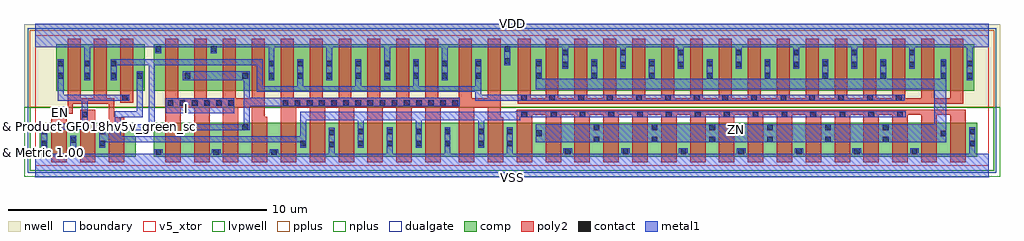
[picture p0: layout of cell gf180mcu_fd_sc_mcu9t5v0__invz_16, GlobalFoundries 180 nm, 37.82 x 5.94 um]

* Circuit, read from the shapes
.subckt gf180mcu_fd_sc_mcu9t5v0__invz_16 EN I VDD VSS ZN
XM1 VSS EN n1 VSUBS nfet_05v0 w=1.32u l=0.6u
XM2 n2 n1 VSS VSUBS nfet_05v0 w=1.32u l=0.6u
XM3 n3 EN n2 VSUBS nfet_05v0 w=1.32u l=0.6u
XM4 n4 I VSS VSUBS nfet_05v0 w=1.32u l=0.6u m=4
XM5 n2 n4 VSS VSUBS nfet_05v0 w=1.32u l=0.6u m=8
XM6 ZN n2 VSS VSUBS nfet_05v0 w=1.32u l=0.6u m=16
XM7 VDD EN n1 n5 pfet_05v0 w=1.8u l=0.5u
XM8 n3 EN VDD n5 pfet_05v0 w=1.8u l=0.5u
XM9 n2 n1 n3 n5 pfet_05v0 w=1.8u l=0.5u
XM10 n4 I VDD n5 pfet_05v0 w=1.8u l=0.5u m=4
XM11 n3 n4 VDD n5 pfet_05v0 w=1.8u l=0.5u m=8
XM12 ZN n3 VDD n5 pfet_05v0 w=1.8u l=0.5u m=16
.ends

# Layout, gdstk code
import gdstk
lib = gdstk.Library(unit=1e-6, precision=1e-09)
def R(c, l, rs):  # rectangles x0, y0, x1, y1
    for r in rs: c.add(gdstk.rectangle(r[:2], r[2:], *l))
def A(c, l, x, y, w, h, nx, ny, dx, dy):  # array of equal rectangles
    R(c, l, [(x+i*dx, y+j*dy, x+i*dx+w, y+j*dy+h) for i in range(nx) for j in range(ny)])
def P(c, l, *ps):  # polygons
    for p in ps: c.add(gdstk.Polygon(p, *l))
boundary = (0, 0)
nwell = (21, 0)
comp = (22, 0)
poly2 = (30, 0)
pplus = (31, 0)
nplus = (32, 0)
contact = (33, 0)
metal1 = (34, 0)
dualgate = (55, 0)
v5_xtor = (112, 1)
lvpwell = (204, 0)

gf180mcu_fd_sc_mcu9t5v0_ = lib.new_cell('gf180mcu_fd_sc_mcu9t5v0__invz_16')
R(gf180mcu_fd_sc_mcu9t5v0_, boundary, [(0,0,36.96,5.04)])
R(gf180mcu_fd_sc_mcu9t5v0_, nwell, [(-0.43,2.265,37.39,5.47)])
R(gf180mcu_fd_sc_mcu9t5v0_, comp, [(0.18,0.34,3.9,1.66), (0.82,2.9,4.24,4.7), (4.6,2.9,36.4,4.7)])
P(gf180mcu_fd_sc_mcu9t5v0_, comp, [(16.02,0.34),(16.02,0.345),(4.6,0.345),(4.6,1.665),(16.12,1.665),(16.12,1.66),(36.5,1.66),(36.5,0.34)])
R(gf180mcu_fd_sc_mcu9t5v0_, poly2, [(1.74,0.12,2.34,2.16), (3.3,2.44,3.8,4.92)])
P(gf180mcu_fd_sc_mcu9t5v0_, poly2, [(0.62,0.12),(0.62,2.2),(1.26,2.2),(1.26,4.92),(1.76,4.92),(1.76,2.6),(2.28,2.6),(2.28,4.92),(2.78,4.92),(2.78,2.6),(3.06,2.6),(3.06,1.88),(3.46,1.88),(3.46,0.12),(2.86,0.12),(2.86,2.4),(1.46,2.4),(1.46,2),(1.22,2),(1.22,0.12)],
  [(5.04,0.125),(5.04,4.92),(5.54,4.92),(5.54,2.6),(6.16,2.6),(6.16,4.92),(6.66,4.92),(6.66,2.6),(7.28,2.6),(7.28,4.92),(7.78,4.92),(7.78,2.6),(8.4,2.6),(8.4,4.92),(8.9,4.92),(8.9,1.885),(9,1.885),(9,0.125),(8.4,0.125),(8.4,2.235),(7.875,2.235),(7.875,1.885),(7.88,1.885),(7.88,0.125),(7.28,0.125),(7.28,2.235),(6.76,2.235),(6.76,0.125),(6.16,0.125),(6.16,2.24),(5.64,2.24),(5.64,0.125)],
  [(16.42,0.12),(16.42,2.24),(15.72,2.24),(15.72,0.125),(15.12,0.125),(15.12,2.24),(14.6,2.24),(14.6,0.125),(14,0.125),(14,2.24),(13.48,2.24),(13.48,0.125),(12.88,0.125),(12.88,2.24),(12.36,2.24),(12.36,0.125),(11.76,0.125),(11.76,2.24),(11.24,2.24),(11.24,0.125),(10.64,0.125),(10.64,2.24),(10.12,2.24),(10.12,0.125),(9.52,0.125),(9.52,4.92),(10.02,4.92),(10.02,2.6),(10.64,2.6),(10.64,4.92),(11.14,4.92),(11.14,2.6),(11.76,2.6),(11.76,4.92),(12.26,4.92),(12.26,2.6),(12.88,2.6),(12.88,4.92),(13.38,4.92),(13.38,2.6),(14,2.6),(14,4.92),(14.5,4.92),(14.5,2.6),(15.12,2.6),(15.12,4.92),(15.62,4.92),(15.62,2.6),(16.42,2.6),(16.42,4.92),(16.92,4.92),(16.92,2.6),(17.54,2.6),(17.54,4.92),(18.04,4.92),(18.04,1.88),(18.14,1.88),(18.14,0.12),(17.54,0.12),(17.54,2.24),(17.02,2.24),(17.02,0.12)],
  [(18.71,2.4),(18.71,4.92),(19.21,4.92),(19.21,2.6),(19.78,2.6),(19.78,4.92),(20.28,4.92),(20.28,2.6),(20.9,2.6),(20.9,4.92),(21.4,4.92),(21.4,2.6),(22.02,2.6),(22.02,4.92),(22.52,4.92),(22.52,2.6),(23.14,2.6),(23.14,4.92),(23.64,4.92),(23.64,2.6),(24.26,2.6),(24.26,4.92),(24.76,4.92),(24.76,2.6),(25.38,2.6),(25.38,4.92),(25.88,4.92),(25.88,2.6),(26.5,2.6),(26.5,4.92),(27,4.92),(27,2.6),(27.62,2.6),(27.62,4.92),(28.12,4.92),(28.12,2.6),(28.74,2.6),(28.74,4.92),(29.24,4.92),(29.24,2.6),(29.86,2.6),(29.86,4.92),(30.36,4.92),(30.36,2.6),(30.98,2.6),(30.98,4.92),(31.48,4.92),(31.48,2.6),(32.1,2.6),(32.1,4.92),(32.6,4.92),(32.6,2.6),(33.22,2.6),(33.22,4.92),(33.72,4.92),(33.72,2.6),(34.34,2.6),(34.34,4.92),(34.84,4.92),(34.84,2.6),(35.46,2.6),(35.46,4.92),(35.96,4.92),(35.96,2.4)],
  [(18.66,0.12),(18.66,2.16),(36.06,2.16),(36.06,0.12),(35.46,0.12),(35.46,1.96),(34.94,1.96),(34.94,0.12),(34.34,0.12),(34.34,1.96),(33.82,1.96),(33.82,0.12),(33.22,0.12),(33.22,1.96),(32.7,1.96),(32.7,0.12),(32.1,0.12),(32.1,1.96),(31.58,1.96),(31.58,0.12),(30.98,0.12),(30.98,1.96),(30.46,1.96),(30.46,0.12),(29.86,0.12),(29.86,1.96),(29.34,1.96),(29.34,0.12),(28.74,0.12),(28.74,1.96),(28.22,1.96),(28.22,0.12),(27.62,0.12),(27.62,1.96),(27.1,1.96),(27.1,0.12),(26.5,0.12),(26.5,1.96),(25.98,1.96),(25.98,0.12),(25.38,0.12),(25.38,1.96),(24.86,1.96),(24.86,0.12),(24.26,0.12),(24.26,1.96),(23.74,1.96),(23.74,0.12),(23.14,0.12),(23.14,1.96),(22.62,1.96),(22.62,0.12),(22.02,0.12),(22.02,1.96),(21.5,1.96),(21.5,0.12),(20.9,0.12),(20.9,1.96),(20.38,1.96),(20.38,0.12),(19.78,0.12),(19.78,1.96),(19.26,1.96),(19.26,0.12)])
R(gf180mcu_fd_sc_mcu9t5v0_, pplus, [(-0.2,2.265,37.16,5.24)])
R(gf180mcu_fd_sc_mcu9t5v0_, nplus, [(-0.2,-0.2,37.16,2.265)])
A(gf180mcu_fd_sc_mcu9t5v0_, contact, 4.67, 0.415, 0.22, 0.22, 3, 1, 2.24, 0)
A(gf180mcu_fd_sc_mcu9t5v0_, contact, 20.53, 0.44, 0.22, 0.22, 7, 1, 2.24, 0)
A(gf180mcu_fd_sc_mcu9t5v0_, contact, 12.51, 0.74, 0.22, 0.22, 4, 2, 1.12, 0.47)
A(gf180mcu_fd_sc_mcu9t5v0_, contact, 21.65, 0.9, 0.22, 0.22, 6, 2, 2.24, 0.47)
A(gf180mcu_fd_sc_mcu9t5v0_, contact, 19.985, 1.87, 0.22, 0.22, 5, 1, 1.115, 0)
A(gf180mcu_fd_sc_mcu9t5v0_, contact, 26.69, 1.87, 0.22, 0.22, 3, 1, 1.12, 0)
A(gf180mcu_fd_sc_mcu9t5v0_, contact, 31.175, 1.87, 0.22, 0.22, 3, 1, 1.115, 0)
A(gf180mcu_fd_sc_mcu9t5v0_, contact, 5.135, 2.31, 0.22, 0.22, 6, 1, 0.47, 0)
A(gf180mcu_fd_sc_mcu9t5v0_, contact, 9.59, 2.31, 0.22, 0.22, 15, 1, 0.47, 0)
A(gf180mcu_fd_sc_mcu9t5v0_, contact, 22.16, 2.51, 0.22, 0.22, 3, 1, 1.125, 0)
A(gf180mcu_fd_sc_mcu9t5v0_, contact, 30, 2.51, 0.22, 0.22, 3, 1, 1.12, 0)
A(gf180mcu_fd_sc_mcu9t5v0_, contact, 0.89, 3.37, 0.22, 0.22, 4, 1, 1.02, 0)
A(gf180mcu_fd_sc_mcu9t5v0_, contact, 9.05, 3.37, 0.22, 0.22, 7, 2, 1.12, 0.47)
A(gf180mcu_fd_sc_mcu9t5v0_, contact, 21.55, 3.37, 0.22, 0.22, 6, 2, 2.24, 0.47)
A(gf180mcu_fd_sc_mcu9t5v0_, contact, 20.43, 3.805, 0.22, 0.22, 7, 2, 2.24, 0.47)
A(gf180mcu_fd_sc_mcu9t5v0_, contact, 0.89, 3.84, 0.22, 0.22, 3, 1, 1.02, 0)
R(gf180mcu_fd_sc_mcu9t5v0_, contact, [(1.37,0.41,1.59,0.63), (11.39,0.705,11.61,0.925), (0.25,0.74,0.47,0.96), (2.49,0.74,2.71,0.96), (10.27,0.74,10.49,0.96), (17.17,0.74,17.39,0.96), (18.29,0.74,18.51,0.96), (36.21,0.74,36.43,0.96), (1.37,0.88,1.59,1.1), (35.09,1.135,35.31,1.355), (19.41,1.14,19.63,1.36), (11.39,1.175,11.61,1.395), (0.25,1.21,0.47,1.43), (2.49,1.21,2.71,1.43), (17.17,1.21,17.39,1.43), (18.29,1.21,18.51,1.43), (36.21,1.21,36.43,1.43), (3.61,1.37,3.83,1.59), (5.79,1.375,6.01,1.595), (8.03,1.375,8.25,1.595), (1.81,1.87,2.03,2.09), (18.845,1.87,19.065,2.09), (25.565,1.87,25.785,2.09), (30.04,1.87,30.26,2.09), (0.93,1.91,1.15,2.13), (3.37,2.51,3.59,2.73), (18.835,2.51,19.055,2.73), (19.925,2.51,20.145,2.73), (21.05,2.51,21.27,2.73), (25.53,2.51,25.75,2.73), (26.63,2.51,26.85,2.73), (27.75,2.51,27.97,2.73), (28.885,2.51,29.105,2.73), (33.355,2.51,33.575,2.73), (5.79,3.37,6.01,3.59), (8.03,3.37,8.25,3.59), (17.07,3.37,17.29,3.59), (19.41,3.37,19.63,3.59), (35.09,3.37,35.31,3.59), (36.11,3.37,36.33,3.59), (17.07,3.84,17.29,4.06), (19.41,3.84,19.63,4.06), (35.09,3.84,35.31,4.06), (36.11,3.84,36.33,4.06), (18.19,3.94,18.41,4.16), (4.67,4.41,4.89,4.63), (6.81,4.41,7.03,4.63), (18.19,4.41,18.41,4.63)])
R(gf180mcu_fd_sc_mcu9t5v0_, metal1, [(0.815,1.85,1.155,2.275), (5.065,2.03,7.71,2.605)])
P(gf180mcu_fd_sc_mcu9t5v0_, metal1, [(0.245,0.68),(0.245,1.62),(1.805,1.62),(1.805,2.505),(0.885,2.505),(0.885,4.12),(1.115,4.12),(1.115,2.735),(3.65,2.735),(3.65,2.505),(2.035,2.505),(2.035,1.39),(0.475,1.39),(0.475,0.68)],
  [(5.73,1.37),(5.73,1.6),(8.08,1.6),(8.08,3.31),(5.73,3.31),(5.73,3.65),(8.31,3.65),(8.31,2.62),(16.45,2.62),(16.45,2.305),(8.31,2.305),(8.31,1.37)],
  [(3.55,1.365),(3.55,1.595),(4.405,1.595),(4.405,3.89),(3.155,3.89),(3.155,3.31),(2.925,3.31),(2.925,4.12),(8.815,4.12),(8.815,3.08),(10.165,3.08),(10.165,4.12),(10.395,4.12),(10.395,3.08),(12.405,3.08),(12.405,4.12),(12.635,4.12),(12.635,3.08),(14.645,3.08),(14.645,4.12),(14.875,4.12),(14.875,3.08),(17.065,3.08),(17.065,4.12),(17.295,4.12),(17.295,2.735),(33.7,2.735),(33.7,2.505),(17.065,2.505),(17.065,2.85),(8.585,2.85),(8.585,3.89),(4.635,3.89),(4.635,1.365)],
  [(2.485,0.68),(2.485,1.49),(3.09,1.49),(3.09,2.095),(3.945,2.095),(3.945,3.65),(4.175,3.65),(4.175,1.865),(3.32,1.865),(3.32,1.135),(10.27,1.135),(10.27,2.075),(18.61,2.075),(18.61,2.095),(33.73,2.095),(33.73,1.865),(18.8,1.865),(18.8,1.75),(17.395,1.75),(17.395,0.68),(17.165,0.68),(17.165,1.75),(14.975,1.75),(14.975,0.68),(14.745,0.68),(14.745,1.75),(12.735,1.75),(12.735,0.68),(12.505,0.68),(12.505,1.75),(10.5,1.75),(10.5,0.68),(10.265,0.68),(10.265,0.905),(2.715,0.905),(2.715,0.68)],
  [(19.405,0.895),(19.405,1.595),(34.835,1.595),(34.835,2.965),(19.405,2.965),(19.405,4.12),(19.635,4.12),(19.635,3.365),(21.545,3.365),(21.545,4.12),(21.775,4.12),(21.775,3.365),(23.785,3.365),(23.785,4.12),(24.015,4.12),(24.015,3.365),(26.025,3.365),(26.025,4.12),(26.255,4.12),(26.255,3.365),(28.265,3.365),(28.265,4.12),(28.495,4.12),(28.495,3.365),(30.505,3.365),(30.505,4.12),(30.735,4.12),(30.735,3.365),(32.745,3.365),(32.745,4.12),(32.975,4.12),(32.975,3.365),(35.085,3.365),(35.085,4.12),(35.315,4.12),(35.315,0.895)],
  [(0,-0.45),(0,0.45),(1.365,0.45),(1.365,1.16),(1.595,1.16),(1.595,0.45),(4.61,0.45),(4.61,0.64),(4.95,0.64),(4.95,0.45),(6.85,0.45),(6.85,0.64),(7.19,0.64),(7.19,0.45),(9.09,0.45),(9.09,0.64),(9.43,0.64),(9.43,0.45),(11.385,0.45),(11.385,1.455),(11.615,1.455),(11.615,0.45),(13.625,0.45),(13.625,1.49),(13.855,1.49),(13.855,0.45),(15.865,0.45),(15.865,1.49),(16.095,1.49),(16.095,0.45),(18.285,0.45),(18.285,1.49),(18.515,1.49),(18.515,0.45),(20.47,0.45),(20.47,0.665),(20.81,0.665),(20.81,0.45),(22.71,0.45),(22.71,0.665),(23.05,0.665),(23.05,0.45),(24.95,0.45),(24.95,0.665),(25.29,0.665),(25.29,0.45),(27.19,0.45),(27.19,0.665),(27.53,0.665),(27.53,0.45),(29.43,0.45),(29.43,0.665),(29.77,0.665),(29.77,0.45),(31.67,0.45),(31.67,0.665),(32.01,0.665),(32.01,0.45),(33.91,0.45),(33.91,0.665),(34.25,0.665),(34.25,0.45),(36.205,0.45),(36.205,1.49),(36.435,1.49),(36.435,0.45),(36.96,0.45),(36.96,-0.45)],
  [(1.905,3.31),(1.905,4.59),(0,4.59),(0,5.49),(36.96,5.49),(36.96,4.59),(36.335,4.59),(36.335,3.31),(36.105,3.31),(36.105,4.59),(34.095,4.59),(34.095,3.745),(33.865,3.745),(33.865,4.59),(31.855,4.59),(31.855,3.745),(31.625,3.745),(31.625,4.59),(29.615,4.59),(29.615,3.745),(29.385,3.745),(29.385,4.59),(27.375,4.59),(27.375,3.745),(27.145,3.745),(27.145,4.59),(25.135,4.59),(25.135,3.745),(24.905,3.745),(24.905,4.59),(22.895,4.59),(22.895,3.745),(22.665,3.745),(22.665,4.59),(20.655,4.59),(20.655,3.745),(20.425,3.745),(20.425,4.59),(18.415,4.59),(18.415,3.88),(18.185,3.88),(18.185,4.59),(15.995,4.59),(15.995,3.31),(15.765,3.31),(15.765,4.59),(13.755,4.59),(13.755,3.31),(13.525,3.31),(13.525,4.59),(11.515,4.59),(11.515,3.31),(11.285,3.31),(11.285,4.59),(9.275,4.59),(9.275,3.31),(9.045,3.31),(9.045,4.59),(7.035,4.59),(7.035,4.35),(6.805,4.35),(6.805,4.59),(4.895,4.59),(4.895,4.35),(4.665,4.35),(4.665,4.59),(2.135,4.59),(2.135,3.31)])
R(gf180mcu_fd_sc_mcu9t5v0_, dualgate, [(-0.28,-0.28,37.24,5.32)])
R(gf180mcu_fd_sc_mcu9t5v0_, v5_xtor, [(0,0,36.96,5.04)])
R(gf180mcu_fd_sc_mcu9t5v0_, lvpwell, [(-0.43,-0.43,37.39,2.265)])
gf180mcu_fd_sc_mcu9t5v0_.add(gdstk.Label('EN', (0.985,2.062), layer=34, texttype=10))
gf180mcu_fd_sc_mcu9t5v0_.add(gdstk.Label('I', (5.855,2.22), layer=34, texttype=10))
gf180mcu_fd_sc_mcu9t5v0_.add(gdstk.Label('VDD', (18.48,5.49), layer=34, texttype=10))
gf180mcu_fd_sc_mcu9t5v0_.add(gdstk.Label('VSS', (18.48,-0.45), layer=34, texttype=10))
gf180mcu_fd_sc_mcu9t5v0_.add(gdstk.Label('ZN', (27.16,1.4), layer=34, texttype=10))
gf180mcu_fd_sc_mcu9t5v0_.add(gdstk.Label('& Vendor GLOBALFOUNDRIES', (0,2), layer=63, texttype=63))
gf180mcu_fd_sc_mcu9t5v0_.add(gdstk.Label('& Product GF018hv5v_green_sc9', (0,1.5), layer=63, texttype=63))
gf180mcu_fd_sc_mcu9t5v0_.add(gdstk.Label('& Version 2015q2v2', (0,1), layer=63, texttype=63))
gf180mcu_fd_sc_mcu9t5v0_.add(gdstk.Label('& Metric 1.00', (0,0.5), layer=63, texttype=63))

lib.write_gds('gf180mcu_fd_sc_mcu9t5v0__invz_16.gds')
